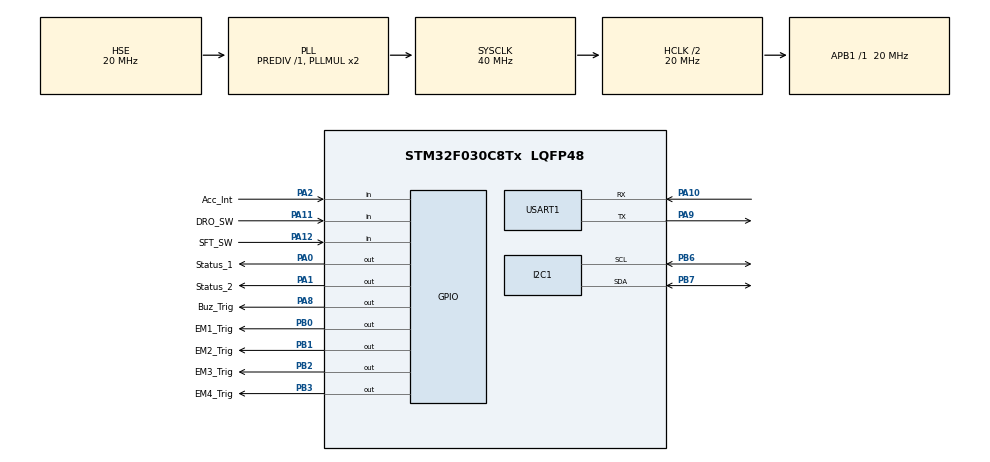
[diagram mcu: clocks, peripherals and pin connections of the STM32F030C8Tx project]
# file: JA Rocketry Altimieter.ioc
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Mcu.Family=STM32F0
Mcu.Name=STM32F030C8Tx
Mcu.Package=LQFP48
NVIC.I2C1_IRQn=true\:0\:0\:false\:false\:true\:true\:true\:true
NVIC.USART1_IRQn=true\:0\:0\:false\:false\:true\:true\:true\:true
PA0.GPIO_Label=Status_1
PA0.Signal=GPIO_Output
PA1.GPIO_Label=Status_2
PA1.Signal=GPIO_Output
PA10.Mode=Asynchronous
PA10.Signal=USART1_RX
PA11.GPIO_Label=DRO_SW
PA11.GPIO_PuPd=GPIO_PULLDOWN
PA11.Signal=GPIO_Input
PA12.GPIO_Label=SFT_SW
PA12.GPIO_PuPd=GPIO_PULLDOWN
PA12.Signal=GPIO_Input
PA13.Mode=Serial_Wire
PA13.Signal=SYS_SWDIO
PA14.Mode=Serial_Wire
PA14.Signal=SYS_SWCLK
PA2.GPIO_Label=Acc_Int
PA2.Signal=GPIO_Input
PA8.GPIO_Label=Buz_Trig
PA8.Signal=GPIO_Output
PA9.Mode=Asynchronous
PA9.Signal=USART1_TX
PB0.GPIO_Label=EM1_Trig
PB0.Signal=GPIO_Output
PB1.GPIO_Label=EM2_Trig
PB1.Signal=GPIO_Output
PB2.GPIO_Label=EM3_Trig
PB2.Signal=GPIO_Output
PB3.GPIO_Label=EM4_Trig
PB3.Signal=GPIO_Output
PB6.Mode=I2C
PB6.Signal=I2C1_SCL
PB7.Mode=I2C
PB7.Signal=I2C1_SDA
PC14-OSC32_IN.Mode=LSE-External-Oscillator
PC14-OSC32_IN.Signal=RCC_OSC32_IN
PC15-OSC32_OUT.Mode=LSE-External-Oscillator
PC15-OSC32_OUT.Signal=RCC_OSC32_OUT
PF0-OSC_IN.Mode=HSE-External-Oscillator
PF0-OSC_IN.Signal=RCC_OSC_IN
PF1-OSC_OUT.Mode=HSE-External-Oscillator
PF1-OSC_OUT.Signal=RCC_OSC_OUT
ProjectManager.HeapSize=0x200
ProjectManager.StackSize=0x400
ProjectManager.TargetToolchain=STM32CubeIDE
RCC.AHBCLKDivider=RCC_SYSCLK_DIV2
RCC.AHBFreq_Value=20000000
RCC.APB1Freq_Value=20000000
RCC.APB1TimFreq_Value=20000000
RCC.HCLKFreq_Value=20000000
RCC.HSE_VALUE=20000000
RCC.PLLSourceVirtual=RCC_PLLSOURCE_HSE
RCC.SYSCLKFreq_VALUE=40000000
RCC.SYSCLKSource=RCC_SYSCLKSOURCE_PLLCLK
USART1.VirtualMode-Asynchronous=VM_ASYNC
VP_CRC_VS_CRC.Mode=CRC_Activate
board=custom

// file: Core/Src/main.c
/* USER CODE BEGIN Header */
/**
  ******************************************************************************
  * @file           : main.c
  * @brief          : Main program body
  ******************************************************************************
  * @attention
  *
  * Copyright (c) 2023 STMicroelectronics.
  * All rights reserved.
  *
  * This software is licensed under terms that can be found in the LICENSE file
  * in the root directory of this software component.
  * If no LICENSE file comes with this software, it is provided AS-IS.
  *
  ******************************************************************************
  */
/* USER CODE END Header */
#include "main.h"

/* USER CODE BEGIN Includes */
#include "gpio_pin_names.h"
#include "bmp388.h"

/* USER CODE END Includes */

CRC_HandleTypeDef hcrc;

I2C_HandleTypeDef hi2c1;

UART_HandleTypeDef huart1;

/* USER CODE BEGIN PV */

struct BMP388_Outputs bmp388Outputs;
struct BMP388_Coeffs bmp388Coeffs;
enum Flight_States {
	Standby 		= 1,
	Lockout 		= 2,
	Armed 			= 3,
	Drouge_Fired 	= 4,
	Main_Fired 		= 5,
	Post_Fire 		= 6

};

HAL_StatusTypeDef staus = HAL_OK;

enum flightState Flight_States;
/* USER CODE END PV */

void SystemClock_Config(void);
static void MX_GPIO_Init(void);
static void MX_CRC_Init(void);
static void MX_I2C1_Init(void);
static void MX_USART1_UART_Init(void);

int main(void)
{

  /* MCU Configuration--------------------------------------------------------*/

  /* Reset of all peripherals, Initializes the Flash interface and the Systick. */
  HAL_Init();

  /* Configure the system clock */
  SystemClock_Config();

  /* Initialize all configured peripherals */
  MX_GPIO_Init();
  MX_CRC_Init();
  MX_I2C1_Init();
  MX_USART1_UART_Init();
  /* USER CODE BEGIN 2 */
  HAL_Delay(1000); // wait for the I2C bus to come up [Change for HAL_I2C_IsDeviceReady when confirmed working]
  staus = BMP388_Init(&hi2c1, bmp388Coeffs);
  /* USER CODE END 2 */

  /* Infinite loop */
  while (1)
  {

    /* USER CODE BEGIN 3 */

	  switch(flightState){
	  	  case Standby:
	  		  // Do stuff
	  		  break;

	  	  deafult:
		  HAL_UART_Transmit(&huart1, "Flight State not recognised \n\r", Size, 50);
		  	  // Print Unknown Flight State
		  	  // Pulse buzzer every 5 seconds
	  }
	  // initialise state machine
	  // ENUM Switch case for state machine
	  // Switch case 1 Standby
	  // Switch case 2 Lockout
	  // Switch case 3 Armed
	  // Switch case 4 Drogue Fired
	  // Switch case 5 Main Fired
	  // Switch case 6 Post Fire
	  staus = BMP388_Read(&hi2c1, bmp388Outputs, bmp388Coeffs);
	  // Read accelerometer

	  HAL_Delay(250);
	  // Write pressure and temperature data over UART to PC.
  }
  /* USER CODE END 3 */
}

void SystemClock_Config(void)
{
  RCC_OscInitTypeDef RCC_OscInitStruct = {0};
  RCC_ClkInitTypeDef RCC_ClkInitStruct = {0};
  RCC_PeriphCLKInitTypeDef PeriphClkInit = {0};

  /** Initializes the RCC Oscillators according to the specified parameters
  * in the RCC_OscInitTypeDef structure.
  */
  RCC_OscInitStruct.OscillatorType = RCC_OSCILLATORTYPE_HSI|RCC_OSCILLATORTYPE_HSE;
  RCC_OscInitStruct.HSEState = RCC_HSE_ON;
  RCC_OscInitStruct.HSIState = RCC_HSI_ON;
  RCC_OscInitStruct.HSICalibrationValue = RCC_HSICALIBRATION_DEFAULT;
  RCC_OscInitStruct.PLL.PLLState = RCC_PLL_ON;
  RCC_OscInitStruct.PLL.PLLSource = RCC_PLLSOURCE_HSE;
  RCC_OscInitStruct.PLL.PLLMUL = RCC_PLL_MUL2;
  RCC_OscInitStruct.PLL.PREDIV = RCC_PREDIV_DIV1;
  if (HAL_RCC_OscConfig(&RCC_OscInitStruct) != HAL_OK)
  {
    Error_Handler();
  }

  /** Initializes the CPU, AHB and APB buses clocks
  */
  RCC_ClkInitStruct.ClockType = RCC_CLOCKTYPE_HCLK|RCC_CLOCKTYPE_SYSCLK
                              |RCC_CLOCKTYPE_PCLK1;
  RCC_ClkInitStruct.SYSCLKSource = RCC_SYSCLKSOURCE_PLLCLK;
  RCC_ClkInitStruct.AHBCLKDivider = RCC_SYSCLK_DIV2;
  RCC_ClkInitStruct.APB1CLKDivider = RCC_HCLK_DIV1;

  if (HAL_RCC_ClockConfig(&RCC_ClkInitStruct, FLASH_LATENCY_1) != HAL_OK)
  {
    Error_Handler();
  }
  PeriphClkInit.PeriphClockSelection = RCC_PERIPHCLK_USART1|RCC_PERIPHCLK_I2C1;
  PeriphClkInit.Usart1ClockSelection = RCC_USART1CLKSOURCE_PCLK1;
  PeriphClkInit.I2c1ClockSelection = RCC_I2C1CLKSOURCE_HSI;
  if (HAL_RCCEx_PeriphCLKConfig(&PeriphClkInit) != HAL_OK)
  {
    Error_Handler();
  }
}

static void MX_CRC_Init(void)
{

  hcrc.Instance = CRC;
  hcrc.Init.DefaultInitValueUse = DEFAULT_INIT_VALUE_ENABLE;
  hcrc.Init.InputDataInversionMode = CRC_INPUTDATA_INVERSION_NONE;
  hcrc.Init.OutputDataInversionMode = CRC_OUTPUTDATA_INVERSION_DISABLE;
  hcrc.InputDataFormat = CRC_INPUTDATA_FORMAT_BYTES;
  if (HAL_CRC_Init(&hcrc) != HAL_OK)
  {
    Error_Handler();
  }

}

static void MX_I2C1_Init(void)
{

  hi2c1.Instance = I2C1;
  hi2c1.Init.Timing = 0x2000090E;
  hi2c1.Init.OwnAddress1 = 0;
  hi2c1.Init.AddressingMode = I2C_ADDRESSINGMODE_7BIT;
  hi2c1.Init.DualAddressMode = I2C_DUALADDRESS_DISABLE;
  hi2c1.Init.OwnAddress2 = 0;
  hi2c1.Init.OwnAddress2Masks = I2C_OA2_NOMASK;
  hi2c1.Init.GeneralCallMode = I2C_GENERALCALL_DISABLE;
  hi2c1.Init.NoStretchMode = I2C_NOSTRETCH_DISABLE;
  if (HAL_I2C_Init(&hi2c1) != HAL_OK)
  {
    Error_Handler();
  }

  /** Configure Analogue filter
  */
  if (HAL_I2CEx_ConfigAnalogFilter(&hi2c1, I2C_ANALOGFILTER_ENABLE) != HAL_OK)
  {
    Error_Handler();
  }

  /** Configure Digital filter
  */
  if (HAL_I2CEx_ConfigDigitalFilter(&hi2c1, 0) != HAL_OK)
  {
    Error_Handler();
  }

}

static void MX_USART1_UART_Init(void)
{

  huart1.Instance = USART1;
  huart1.Init.BaudRate = 38400;
  huart1.Init.WordLength = UART_WORDLENGTH_8B;
  huart1.Init.StopBits = UART_STOPBITS_1;
  huart1.Init.Parity = UART_PARITY_NONE;
  huart1.Init.Mode = UART_MODE_TX_RX;
  huart1.Init.HwFlowCtl = UART_HWCONTROL_NONE;
  huart1.Init.OverSampling = UART_OVERSAMPLING_16;
  huart1.Init.OneBitSampling = UART_ONE_BIT_SAMPLE_DISABLE;
  huart1.AdvancedInit.AdvFeatureInit = UART_ADVFEATURE_NO_INIT;
  if (HAL_UART_Init(&huart1) != HAL_OK)
  {
    Error_Handler();
  }

}

static void MX_GPIO_Init(void)
{
  GPIO_InitTypeDef GPIO_InitStruct = {0};

  /* GPIO Ports Clock Enable */
  __HAL_RCC_GPIOC_CLK_ENABLE();
  __HAL_RCC_GPIOF_CLK_ENABLE();
  __HAL_RCC_GPIOA_CLK_ENABLE();
  __HAL_RCC_GPIOB_CLK_ENABLE();

  /*Configure GPIO pin Output Level */
  HAL_GPIO_WritePin(GPIOA, Status_1_Pin|Status_2_Pin|Buz_Trig_Pin, GPIO_PIN_RESET);

  /*Configure GPIO pin Output Level */
  HAL_GPIO_WritePin(GPIOB, EM1_Trig_Pin|EM2_Trig_Pin|EM3_Trig_Pin|EM4_Trig_Pin, GPIO_PIN_RESET);

  /*Configure GPIO pins : Status_1_Pin Status_2_Pin Buz_Trig_Pin */
  GPIO_InitStruct.Pin = Status_1_Pin|Status_2_Pin|Buz_Trig_Pin;
  GPIO_InitStruct.Mode = GPIO_MODE_OUTPUT_PP;
  GPIO_InitStruct.Pull = GPIO_NOPULL;
  GPIO_InitStruct.Speed = GPIO_SPEED_FREQ_LOW;
  HAL_GPIO_Init(GPIOA, &GPIO_InitStruct);

  /*Configure GPIO pin : Acc_Int_Pin */
  GPIO_InitStruct.Pin = Acc_Int_Pin;
  GPIO_InitStruct.Mode = GPIO_MODE_INPUT;
  GPIO_InitStruct.Pull = GPIO_NOPULL;
  HAL_GPIO_Init(Acc_Int_GPIO_Port, &GPIO_InitStruct);

  /*Configure GPIO pins : EM1_Trig_Pin EM2_Trig_Pin EM3_Trig_Pin EM4_Trig_Pin */
  GPIO_InitStruct.Pin = EM1_Trig_Pin|EM2_Trig_Pin|EM3_Trig_Pin|EM4_Trig_Pin;
  GPIO_InitStruct.Mode = GPIO_MODE_OUTPUT_PP;
  GPIO_InitStruct.Pull = GPIO_NOPULL;
  GPIO_InitStruct.Speed = GPIO_SPEED_FREQ_LOW;
  HAL_GPIO_Init(GPIOB, &GPIO_InitStruct);

  /*Configure GPIO pins : DRO_SW_Pin SFT_SW_Pin */
  GPIO_InitStruct.Pin = DRO_SW_Pin|SFT_SW_Pin;
  GPIO_InitStruct.Mode = GPIO_MODE_INPUT;
  GPIO_InitStruct.Pull = GPIO_PULLDOWN;
  HAL_GPIO_Init(GPIOA, &GPIO_InitStruct);

}

void Error_Handler(void)
{
  __disable_irq();
  while (1)
  {
  }
}
